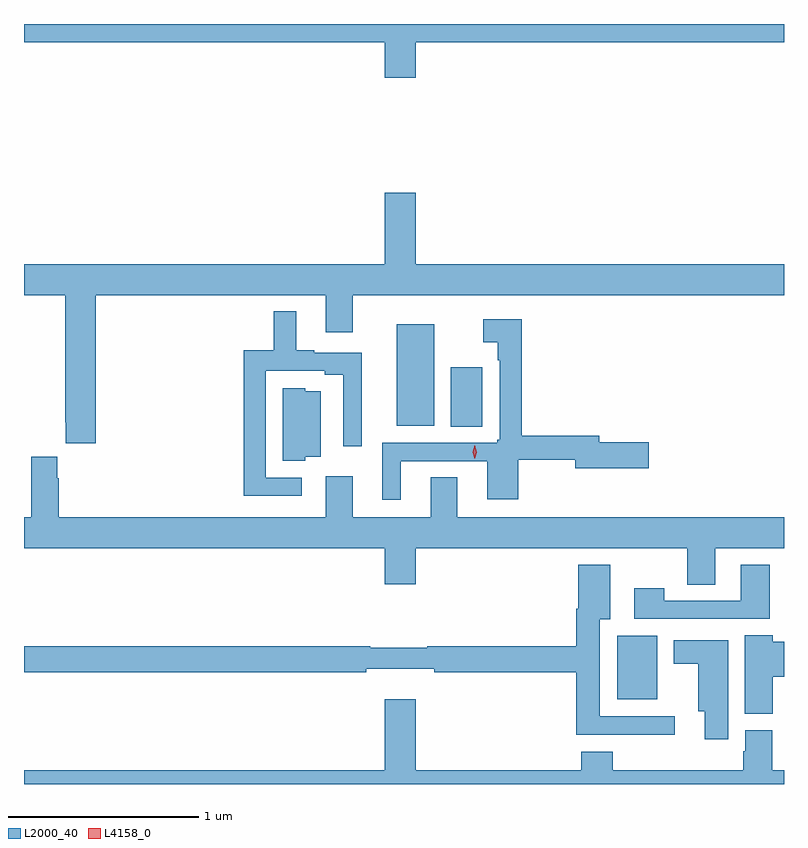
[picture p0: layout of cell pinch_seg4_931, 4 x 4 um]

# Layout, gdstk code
import gdstk
lib = gdstk.Library(unit=1e-6, precision=1e-09)
def R(c, l, rs):  # rectangles x0, y0, x1, y1
    for r in rs: c.add(gdstk.rectangle(r[:2], r[2:], *l))
def P(c, l, *ps):  # polygons
    for p in ps: c.add(gdstk.Polygon(p, *l))
L2000_40 = (2000, 40)
L4158_0 = (4158, 0)

pinch_seg4_931 = lib.new_cell('pinch_seg4_931')
R(pinch_seg4_931, L2000_40, [(693.704,773.381,693.916,773.716), (692.828,774.817,692.995,775.129), (692.543,774.821,692.74,775.357)])
P(pinch_seg4_931, L2000_40, [(692.644,776.84),(694.582,776.84),(694.582,776.936),(690.582,776.936),(690.582,776.84),(692.48,776.84),(692.48,776.652),(692.644,776.652)],
  [(690.959,775.508),(692.171,775.508),(692.171,775.314),(692.311,775.314),(692.311,775.508),(694.582,775.508),(694.582,775.672),(692.644,775.672),(692.644,776.047),(692.48,776.047),(692.48,775.672),(690.582,775.672),(690.582,775.508),(690.799,775.508),(690.799,774.841),(690.803,774.841),(690.803,774.729),(690.959,774.729)],
  [(692.044,774.549),(691.854,774.549),(691.854,775.11),(692.165,775.11),(692.165,775.09),(692.262,775.09),(692.262,774.714),(692.36,774.714),(692.36,775.206),(692.11,775.206),(692.11,775.219),(692.014,775.219),(692.014,775.423),(691.897,775.423),(691.897,775.219),(691.738,775.219),(691.738,774.453),(692.044,774.453)],
  [(692.566,774.636),(693.02,774.636),(693.02,774.435),(693.184,774.435),(693.184,774.642),(693.482,774.642),(693.482,774.599),(693.871,774.599),(693.871,774.734),(693.61,774.734),(693.61,774.77),(693.203,774.77),(693.203,775.381),(693,775.381),(693,775.262),(693.075,775.262),(693.075,775.166),(693.087,775.166),(693.087,774.747),(693.072,774.747),(693.072,774.732),(692.468,774.732),(692.468,774.432),(692.566,774.432)],
  [(692.061,774.659),(692.143,774.659),(692.143,775.003),(692.061,775.003),(692.061,775.018),(691.943,775.018),(691.943,774.638),(692.061,774.638)],
  [(694.219,774.176),(694.582,774.176),(694.582,774.34),(692.863,774.34),(692.863,774.551),(692.723,774.551),(692.723,774.34),(692.311,774.34),(692.311,774.556),(692.171,774.556),(692.171,774.34),(690.764,774.34),(690.764,774.545),(690.757,774.545),(690.757,774.658),(690.62,774.658),(690.62,774.34),(690.582,774.34),(690.582,774.176),(692.48,774.176),(692.48,773.988),(692.644,773.988),(692.644,774.176),(694.072,774.176),(694.072,773.986),(694.219,773.986)],
  [(694.006,773.292),(693.613,773.292),(693.613,773.804),(693.667,773.804),(693.667,774.091),(693.5,774.091),(693.5,773.858),(693.488,773.858),(693.488,773.66),(692.704,773.66),(692.704,773.653),(692.404,773.653),(692.404,773.66),(690.582,773.66),(690.582,773.524),(692.384,773.524),(692.384,773.543),(692.74,773.543),(692.74,773.524),(693.488,773.524),(693.488,773.195),(694.006,773.195)],
  [(694.508,774.091),(694.355,774.091),(694.355,773.901),(693.951,773.901),(693.951,773.965),(693.795,773.965),(693.795,773.805),(694.508,773.805)],
  [(694.523,773.501),(694.582,773.501),(694.582,773.684),(694.523,773.684),(694.523,773.72),(694.376,773.72),(694.376,773.305),(694.523,773.305)],
  [(694.288,773.692),(694.001,773.692),(694.001,773.57),(694.13,773.57),(694.13,773.318),(694.166,773.318),(694.166,773.172),(694.288,773.172)],
  [(694.582,773.008),(694.52,773.008),(694.52,773.22),(694.379,773.22),(694.379,773.109),(694.367,773.109),(694.367,773.008),(693.68,773.008),(693.68,773.107),(693.515,773.107),(693.515,773.008),(692.644,773.008),(692.644,773.383),(692.48,773.383),(692.48,773.008),(690.582,773.008),(690.582,772.936),(694.582,772.936)])
P(pinch_seg4_931, L4158_0, [(692.954,774.647),(692.954,774.648),(692.944,774.683),(692.954,774.719),(692.954,774.719),(692.955,774.719),(692.964,774.683),(692.955,774.648)])

lib.write_gds('pinch_seg4_931.gds')
